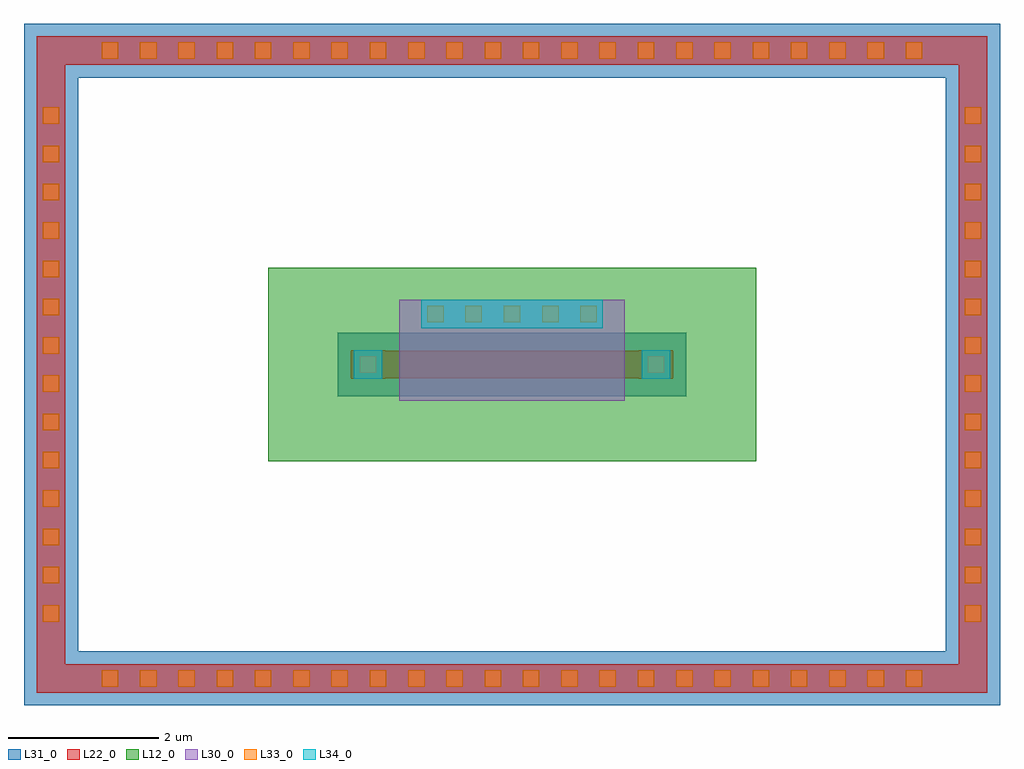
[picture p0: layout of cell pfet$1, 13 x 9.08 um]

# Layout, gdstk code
import gdstk
lib = gdstk.Library(unit=1e-6, precision=5e-09)
def R(c, l, rs):  # rectangles x0, y0, x1, y1
    for r in rs: c.add(gdstk.rectangle(r[:2], r[2:], *l))
def A(c, l, x, y, w, h, nx, ny, dx, dy):  # array of equal rectangles
    R(c, l, [(x+i*dx, y+j*dy, x+i*dx+w, y+j*dy+h) for i in range(nx) for j in range(ny)])
def P(c, l, *ps):  # polygons
    for p in ps: c.add(gdstk.Polygon(p, *l))
L12_0 = (12, 0)
L22_0 = (22, 0)
L30_0 = (30, 0)
L31_0 = (31, 0)
L33_0 = (33, 0)
L34_0 = (34, 0)

pfet_1 = lib.new_cell('pfet$1')
R(pfet_1, L12_0, [(1.58,12.27,8.08,14.85)])
R(pfet_1, L22_0, [(2.68,13.37,3.14,13.75), (6.52,13.37,6.98,13.75), (3.14,13.38,6.52,13.74)])
P(pfet_1, L22_0, [(-1.5,9.19),(-1.5,17.55),(-1.12,17.55),(-1.12,9.57),(10.78,9.57),(10.78,17.55),(-1.5,17.55),(-1.5,17.93),(11.16,17.93),(11.16,9.19)])
R(pfet_1, L30_0, [(3.33,13.08,6.33,14.04), (3.33,14.04,6.33,14.42)])
R(pfet_1, L31_0, [(2.51,13.14,7.15,13.98)])
P(pfet_1, L31_0, [(-1.67,9.02),(-1.67,17.38),(-0.95,17.38),(-0.95,9.74),(10.61,9.74),(10.61,17.38),(-1.67,17.38),(-1.67,18.1),(11.33,18.1),(11.33,9.02)])
A(pfet_1, L33_0, -0.635, 9.27, 0.22, 0.22, 22, 2, 0.51, 8.36)
A(pfet_1, L33_0, -1.42, 10.135, 0.22, 0.22, 1, 14, 0, 0.51)
A(pfet_1, L33_0, 10.86, 10.135, 0.22, 0.22, 1, 14, 0, 0.51)
A(pfet_1, L33_0, 3.7, 14.12, 0.22, 0.22, 5, 1, 0.51, 0)
R(pfet_1, L33_0, [(2.8,13.45,3.02,13.67), (6.64,13.45,6.86,13.67)])
R(pfet_1, L34_0, [(2.72,13.37,3.1,13.75), (6.56,13.37,6.94,13.75), (3.62,14.04,6.04,14.42)])

lib.write_gds('pfet_1.gds')
